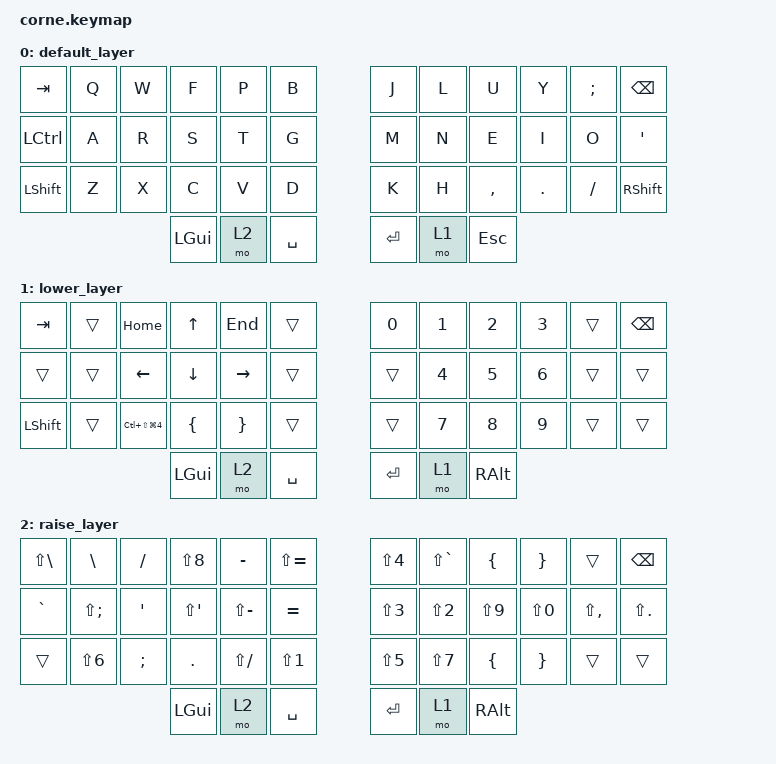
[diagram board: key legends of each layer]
/*
 * Copyright (c) 2020 The ZMK Contributors
 * SPDX-License-Identifier: MIT
 */
#include <behaviors.dtsi>
#include <dt-bindings/zmk/keys.h>
#include <dt-bindings/zmk/bt.h>
/ {
        keymap {
                compatible = "zmk,keymap";
                default_layer {
// -----------------------------------------------------------------------------------------
// |  TAB |  Q  |  W  |  F  |  P  |  B  |   |  J  |  L   |  U  |  Y  |  ;  | BSPC |
// | CTRL |  A  |  R  |  S  |  T  |  G  |   |  M  |  N   |  E  |  I  |  O  |  '   |
// | SHFT |  Z  |  X  |  C  |  V  |  D  |   |  K  |  H   |  ,  |  .  |  /  | SHFT |
//                    | GUI | RSE | SPC |   | ENT | LWR  | ESC |
                        bindings = <
   &kp TAB   &kp Q &kp W &kp F &kp P &kp B   &kp J &kp L  &kp U     &kp Y   &kp SEMI &kp BSPC
   &kp LCTRL &kp A &kp R &kp S &kp T &kp G   &kp M &kp N  &kp E     &kp I   &kp O    &kp SQT
   &kp LSHFT &kp Z &kp X &kp C &kp V &kp D   &kp K &kp H  &kp COMMA &kp DOT &kp FSLH &kp RSHFT
                  &kp LGUI &mo 2 &kp SPACE   &kp RET &mo 1 &kp ESC
                        >;
                };
                lower_layer {
// -----------------------------------------------------------------------------------------
// |  TAB |     | HOME |  ↑  | END  |     |   |  0  |  1  |  2  |  3  |     | BSPC |
// |      |     |  ←   |  ↓  |  →   |     |   |     |  4  |  5  |  6  |     |      |
// | SHFT |     | H4   |  {  |  }   |     |   |     |  7  |  8  |  9  |     |      |
//                     | GUI | RSE  | SPC |   | ENT | LWR | RALT|
                        bindings = <
   &kp TAB   &trans  &kp HOME            &kp UP   &kp END     &trans   &kp N0 &kp N1 &kp N2 &kp N3 &trans &kp BSPC
   &trans    &trans  &kp LEFT            &kp DOWN &kp RIGHT   &trans   &trans &kp N4 &kp N5 &kp N6 &trans &trans
   &kp LSHFT &trans  &kp LC(LS(LG(N4))) &kp LBRC &kp RBRC    &trans   &trans &kp N7 &kp N8 &kp N9 &trans &trans
                            &kp LGUI    &mo 2    &kp SPACE   &kp RET  &mo 1  &kp RALT
                        >;
                };
                raise_layer {
// -----------------------------------------------------------------------------------------
// |  |  |  \  |  /  |  *  |  -  |  +  |   |  $  |  ~  |  {  |  }  |     | BSPC |
// |  `  |  :  |  '  |  "  |  _  |  =  |   |  #  |  @  |  (  |  )  |  <  |  >   |
// |     |  ^  |  ;  |  .  |  ?  |  !  |   |  %  |  &  |  {  |  }  |     |      |
//                   | GUI | RSE | SPC |   | ENT | LWR | RALT|
                        bindings = <
   &kp LS(BSLH) &kp BSLH    &kp FSLH    &kp LS(N8)   &kp MINUS    &kp LS(EQUAL)   &kp LS(N4)  &kp LS(GRAVE) &kp LBRC    &kp RBRC    &trans        &kp BSPC
   &kp GRAVE    &kp LS(SEMI) &kp SQT    &kp LS(SQT)  &kp LS(MINUS) &kp EQUAL      &kp LS(N3)  &kp LS(N2)  &kp LS(N9)    &kp LS(N0)  &kp LS(COMMA) &kp LS(DOT)
   &trans       &kp LS(N6)  &kp SEMI    &kp DOT      &kp LS(FSLH) &kp LS(N1)      &kp LS(N5)  &kp LS(N7)  &kp LBRC      &kp RBRC    &trans        &trans
                                         &kp LGUI     &mo 2        &kp SPACE       &kp RET     &mo 1       &kp RALT
                        >;
                };
        };
};
